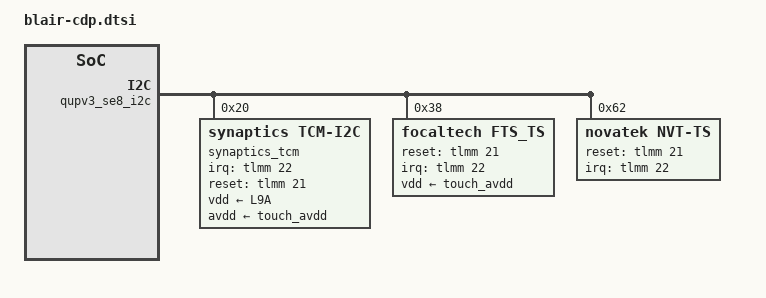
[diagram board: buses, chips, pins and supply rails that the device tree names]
&soc {
	touch_avdd: touch_avdd_stub {
		/*
		 * Touch eLDO controlled by gpio#53 is always ON.
		 * Using dummy regulator.
		 */
		compatible = "qcom,stub-regulator";
		regulator-name = "touch_avdd_stub";
		qcom,hpm-min-load = <10000>;
		regulator-min-microvolt = <2700000>;
		regulator-max-microvolt = <3544000>;
	};
};

&qupv3_se8_i2c {
	#address-cells = <1>;
	#size-cells = <0>;
	status = "okay";
	qcom,i2c-touch-active= "synaptics,tcm-i2c";

	synaptics_tcm@20 {
		compatible = "synaptics,tcm-i2c";
		reg = <0x20>;
		interrupt-parent = <&tlmm>;
		interrupts = <22 0x2008>;
		pinctrl-names = "pmx_ts_active","pmx_ts_suspend",
					"pmx_ts_release";
		pinctrl-0 = <&ts_active>;
		pinctrl-1 = <&ts_int_suspend &ts_reset_suspend>;
		pinctrl-2 = <&pmx_ts_release>;
		vdd-supply = <&L9A>;
		avdd-supply = <&touch_avdd>;
		synaptics,pwr-reg-name = "avdd";
		synaptics,bus-reg-name = "vdd";
		synaptics,irq-gpio = <&tlmm 22 0x2008>;
		synaptics,irq-on-state = <0>;
		synaptics,reset-gpio = <&tlmm 21 0x00>;
		synaptics,reset-on-state = <0>;
		synaptics,reset-active-ms = <20>;
		synaptics,reset-delay-ms = <200>;
		synaptics,power-delay-ms = <200>;
		synaptics,ubl-i2c-addr = <0x20>;
		synaptics,extend_report;
		synaptics,firmware-name = "synaptics_firmware.img";
	};

	focaltech@38 {
		compatible = "focaltech,fts_ts";
		reg = <0x38>;
		interrupt-parent = <&tlmm>;
		interrupts = <22 0x2008>;
		focaltech,reset-gpio = <&tlmm 21 0x00>;
		focaltech,irq-gpio = <&tlmm 22 0x2008>;
		focaltech,max-touch-number = <5>;
		focaltech,display-coords = <0 0 1080 2340>;
		focaltech,touch-type = "primary";

		vdd-supply = <&touch_avdd>;

		pinctrl-names = "pmx_ts_active", "pmx_ts_suspend",
				"pmx_ts_release";
		pinctrl-0 = <&ts_active>;
		pinctrl-1 = <&ts_int_suspend &ts_reset_suspend>;
		pinctrl-2 = <&pmx_ts_release>;
	};

	novatek@62 {
		compatible = "novatek,NVT-ts";
		reg = <0x62>;

		interrupt-parent = <&tlmm>;
		interrupts = <22 0x2008>;

		pinctrl-names = "pmx_ts_active","pmx_ts_suspend",
			"pmx_ts_release";
		pinctrl-0 = <&ts_active>;
		pinctrl-1 = <&ts_int_suspend &ts_reset_suspend>;
		pinctrl-2 = <&pmx_ts_release>;

		novatek,reset-gpio = <&tlmm 21 0x00>;
		novatek,irq-gpio = <&tlmm 22 0x2008>;
	};
};
